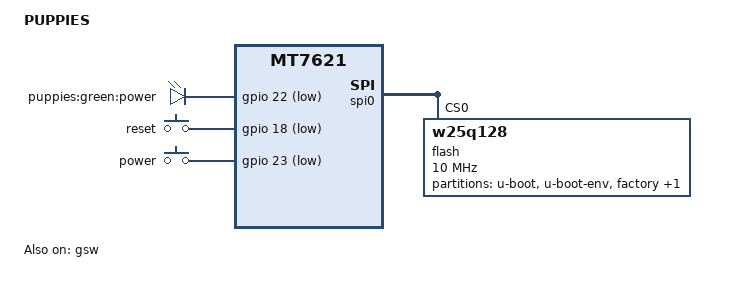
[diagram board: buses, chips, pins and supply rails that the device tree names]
/dts-v1/;

#include "mt7621.dtsi"

#include <dt-bindings/gpio/gpio.h>
#include <dt-bindings/input/input.h>

/ {
	compatible = "xwrt,puppies", "mediatek,mt7621-soc";
	model = "PUPPIES";

	aliases {
		led-status = &led_power;
		label-mac-device = &gmac0;
	};

	chosen {
		bootargs = "console=ttyS0,57600";
	};

	leds {
		compatible = "gpio-leds";

		led_power: power {
			label = "puppies:green:power";
			gpios = <&gpio 22 1>;
			default-state = "on";
		};
	};

	keys {
		compatible = "gpio-keys";

		reset {
			label = "reset";
			gpios = <&gpio 18 1>;
			linux,code = <KEY_RESTART>;
		};

		power {
			label = "power";
			gpios = <&gpio 23 1>;
			linux,code = <KEY_POWER>;
		};
	};
};

&spi0 {
	status = "okay";

	flash@0 {
		compatible = "w25q128";
		reg = <0>;
		linux,modalias = "m25p80";
		spi-max-frequency = <10000000>;

		partitions {
			compatible = "fixed-partitions";
			#address-cells = <1>;
			#size-cells = <1>;

			partition@0 {
				label = "u-boot";
				reg = <0x0 0x30000>;
				read-only;
			};

			partition@30000 {
				label = "u-boot-env";
				reg = <0x30000 0x10000>;
				read-only;
			};

			factory: partition@40000 {
				label = "factory";
				reg = <0x40000 0x10000>;
				read-only;
			};

			partition@50000 {
				compatible = "denx,uimage";
				label = "firmware";
				reg = <0x50000 0xfb0000>;
			};
		};
	};
};

&gmac0 {
        mtd-mac-address = <&factory 0xe000>;
        nvmem-cells = <&macaddr_factory_e000>;
        nvmem-cell-names = "mac-address";
};

&ethernet {
	pinctrl-0 = <&mdio_pins>, <&rgmii1_pins>;
};

&switch0 {
	/* must delete compatible property */
	/delete-property/ compatible;
	phy-mode = "rgmii";
};

&gsw {
        compatible = "mediatek,mt753x";
        status = "okay";

        mediatek,mdio = <&mdio>;
        mediatek,portmap = "llllw";
        mt7530,direct-phy-access;
        resets = <&rstctrl 2>;
        reset-names = "mcm";
        mediatek,mcm;

        #address-cells = <1>;
        #size-cells = <0>;

        /*
        port5: port@5 {
                compatible = "mediatek,mt753x-port";
                reg = <5>;
                phy-mode = "rgmii";
                fixed-link {
                        speed = <1000>;
                        full-duplex;
                };
        };
        */

        port6: port@6 {
                compatible = "mediatek,mt753x-port";
                reg = <6>;
                phy-mode = "rgmii";
                fixed-link {
                        speed = <1000>;
                        full-duplex;
                };
        };
};

&state_default {
	gpio {
		groups = "wdt", "rgmii2";
		function = "gpio";
	};
};

&factory {
	compatible = "nvmem-cells";
	#address-cells = <1>;
	#size-cells = <1>;

	macaddr_factory_e000: macaddr@e000 {
		reg = <0xe000 0x6>;
	};
};
